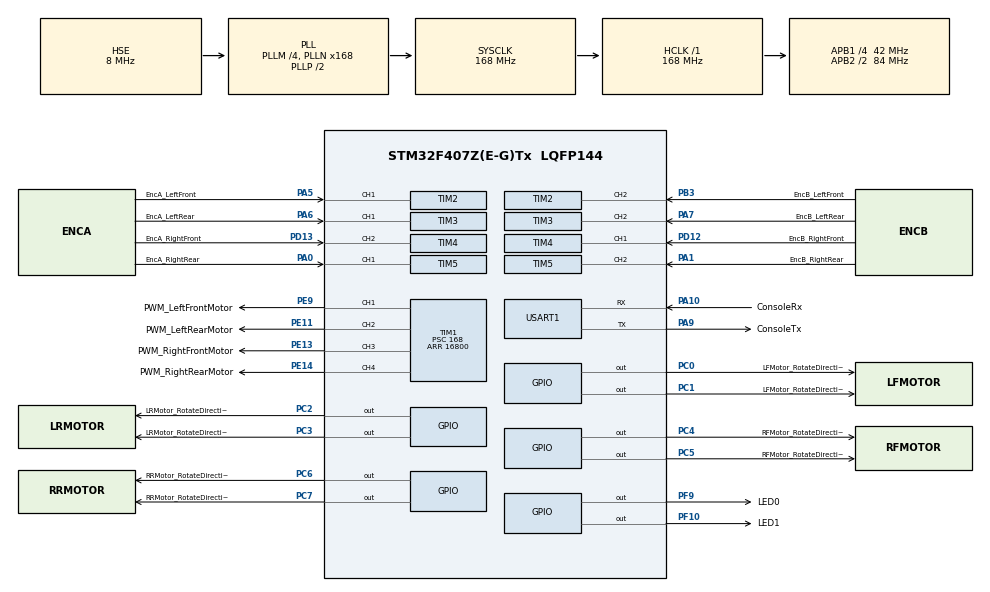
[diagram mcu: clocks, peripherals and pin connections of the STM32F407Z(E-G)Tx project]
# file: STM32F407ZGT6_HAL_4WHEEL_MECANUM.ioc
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Dma.Request0=USART1_TX
Dma.USART1_TX.0.Direction=DMA_MEMORY_TO_PERIPH
Dma.USART1_TX.0.FIFOMode=DMA_FIFOMODE_DISABLE
Dma.USART1_TX.0.Instance=DMA2_Stream7
Dma.USART1_TX.0.MemDataAlignment=DMA_MDATAALIGN_BYTE
Dma.USART1_TX.0.MemInc=DMA_MINC_ENABLE
Dma.USART1_TX.0.Mode=DMA_NORMAL
Dma.USART1_TX.0.PeriphDataAlignment=DMA_PDATAALIGN_BYTE
Dma.USART1_TX.0.PeriphInc=DMA_PINC_DISABLE
Dma.USART1_TX.0.Priority=DMA_PRIORITY_LOW
FREERTOS.INCLUDE_vTaskDelayUntil=1
FREERTOS.Tasks01=defaultTask,0,128,StartDefaultTask,Default,NULL,Dynamic,NULL,NULL;Task_AdjustSpeed,1,512,AdjustSpeed,Default,NULL,Dynamic,NULL,NULL;Task_CarOSioProcess,-3,512,CarOS_ioProcess,Default,NULL,Dynamic,NULL,NULL
FREERTOS.configMAX_TASK_NAME_LEN=30
FREERTOS.configUSE_NEWLIB_REENTRANT=1
Mcu.Family=STM32F4
Mcu.Name=STM32F407Z(E-G)Tx
Mcu.Package=LQFP144
NVIC.DMA2_Stream7_IRQn=true\:5\:0\:false\:false\:true\:true\:false\:true\:true
NVIC.PriorityGroup=NVIC_PRIORITYGROUP_4
NVIC.USART1_IRQn=true\:15\:0\:true\:false\:true\:true\:true\:true\:true
PA0-WKUP.GPIO_Label=EncA_RightRear
PA0-WKUP.GPIO_PuPd=GPIO_PULLUP
PA0-WKUP.Signal=S_TIM5_CH1
PA1.GPIO_Label=EncB_RightRear
PA1.GPIO_PuPd=GPIO_PULLUP
PA1.Signal=S_TIM5_CH2
PA10.GPIO_Label=ConsoleRx
PA10.Mode=Asynchronous
PA10.Signal=USART1_RX
PA5.GPIO_Label=EncA_LeftFront
PA5.GPIO_PuPd=GPIO_PULLUP
PA5.Signal=S_TIM2_CH1_ETR
PA6.GPIO_Label=EncA_LeftRear
PA6.GPIO_PuPd=GPIO_PULLUP
PA6.Signal=S_TIM3_CH1
PA7.GPIO_Label=EncB_LeftRear
PA7.GPIO_PuPd=GPIO_PULLUP
PA7.Signal=S_TIM3_CH2
PA9.GPIO_Label=ConsoleTx
PA9.Mode=Asynchronous
PA9.Signal=USART1_TX
PB3.GPIO_Label=EncB_LeftFront
PB3.GPIO_PuPd=GPIO_PULLUP
PB3.Signal=S_TIM2_CH2
PC0.GPIO_Label=LFMotor_RotateDirectionCtrl1
PC0.GPIO_PuPd=GPIO_PULLDOWN
PC0.Signal=GPIO_Output
PC1.GPIO_Label=LFMotor_RotateDirectionCtrl2
PC1.GPIO_PuPd=GPIO_PULLDOWN
PC1.Signal=GPIO_Output
PC14-OSC32_IN.Mode=LSE-External-Oscillator
PC14-OSC32_IN.Signal=RCC_OSC32_IN
PC15-OSC32_OUT.Mode=LSE-External-Oscillator
PC15-OSC32_OUT.Signal=RCC_OSC32_OUT
PC2.GPIO_Label=LRMotor_RotateDirectionCtrl1
PC2.GPIO_PuPd=GPIO_PULLDOWN
PC2.Signal=GPIO_Output
PC3.GPIO_Label=LRMotor_RotateDirectionCtrl2
PC3.GPIO_PuPd=GPIO_PULLDOWN
PC3.Signal=GPIO_Output
PC4.GPIO_Label=RFMotor_RotateDirectionCtrl1
PC4.GPIO_PuPd=GPIO_PULLDOWN
PC4.Signal=GPIO_Output
PC5.GPIO_Label=RFMotor_RotateDirectionCtrl2
PC5.GPIO_PuPd=GPIO_PULLDOWN
PC5.Signal=GPIO_Output
PC6.GPIO_Label=RRMotor_RotateDirectionCtrl1
PC6.GPIO_PuPd=GPIO_PULLDOWN
PC6.Signal=GPIO_Output
PC7.GPIO_Label=RRMotor_RotateDirectionCtrl2
PC7.GPIO_PuPd=GPIO_PULLDOWN
PC7.Signal=GPIO_Output
PD12.GPIO_Label=EncB_RightFront
PD12.GPIO_PuPd=GPIO_PULLUP
PD12.Signal=S_TIM4_CH1
PD13.GPIO_Label=EncA_RightFront
PD13.GPIO_PuPd=GPIO_PULLUP
PD13.Signal=S_TIM4_CH2
PE11.GPIO_Label=PWM_LeftRearMotor
PE11.Signal=S_TIM1_CH2
PE13.GPIO_Label=PWM_RightFrontMotor
PE13.Signal=S_TIM1_CH3
PE14.GPIO_Label=PWM_RightRearMotor
PE14.Signal=S_TIM1_CH4
PE9.GPIO_Label=PWM_LeftFrontMotor
PE9.Signal=S_TIM1_CH1
PF10.GPIO_Label=LED1
PF10.PinState=GPIO_PIN_SET
PF10.Signal=GPIO_Output
PF9.GPIO_Label=LED0
PF9.PinState=GPIO_PIN_SET
PF9.Signal=GPIO_Output
PH0-OSC_IN.Mode=HSE-External-Oscillator
PH0-OSC_IN.Signal=RCC_OSC_IN
PH1-OSC_OUT.Mode=HSE-External-Oscillator
PH1-OSC_OUT.Signal=RCC_OSC_OUT
ProjectManager.HeapSize=0x200
ProjectManager.StackSize=0x400
ProjectManager.TargetToolchain=STM32CubeIDE
RCC.48MHZClocksFreq_Value=84000000
RCC.AHBFreq_Value=168000000
RCC.APB1CLKDivider=RCC_HCLK_DIV4
RCC.APB1Freq_Value=42000000
RCC.APB1TimFreq_Value=84000000
RCC.APB2CLKDivider=RCC_HCLK_DIV2
RCC.APB2Freq_Value=84000000
RCC.APB2TimFreq_Value=168000000
RCC.CortexFreq_Value=168000000
RCC.HCLKFreq_Value=168000000
RCC.HSE_VALUE=8000000
RCC.HSI_VALUE=16000000
RCC.PLLM=4
RCC.PLLN=168
RCC.PLLSourceVirtual=RCC_PLLSOURCE_HSE
RCC.SYSCLKFreq_VALUE=168000000
RCC.SYSCLKSource=RCC_SYSCLKSOURCE_PLLCLK
RCC.VCOOutputFreq_Value=336000000
SH.S_TIM1_CH1.0=TIM1_CH1,PWM Generation1 CH1
SH.S_TIM1_CH2.0=TIM1_CH2,PWM Generation2 CH2
SH.S_TIM1_CH3.0=TIM1_CH3,PWM Generation3 CH3
SH.S_TIM1_CH4.0=TIM1_CH4,PWM Generation4 CH4
SH.S_TIM2_CH1_ETR.0=TIM2_CH1,Encoder_Interface
SH.S_TIM2_CH2.0=TIM2_CH2,Encoder_Interface
SH.S_TIM3_CH1.0=TIM3_CH1,Encoder_Interface
SH.S_TIM3_CH2.0=TIM3_CH2,Encoder_Interface
SH.S_TIM4_CH1.0=TIM4_CH1,Encoder_Interface
SH.S_TIM4_CH2.0=TIM4_CH2,Encoder_Interface
SH.S_TIM5_CH1.0=TIM5_CH1,Encoder_Interface
SH.S_TIM5_CH2.0=TIM5_CH2,Encoder_Interface
TIM1.Channel-PWM\ Generation1\ CH1=TIM_CHANNEL_1
TIM1.Channel-PWM\ Generation2\ CH2=TIM_CHANNEL_2
TIM1.Channel-PWM\ Generation3\ CH3=TIM_CHANNEL_3
TIM1.Channel-PWM\ Generation4\ CH4=TIM_CHANNEL_4
TIM1.Period=16800
TIM1.Prescaler=168
TIM2.EncoderMode=TIM_ENCODERMODE_TI12
TIM2.Prescaler=0
TIM3.EncoderMode=TIM_ENCODERMODE_TI12
TIM4.EncoderMode=TIM_ENCODERMODE_TI12
TIM5.EncoderMode=TIM_ENCODERMODE_TI12
USART1.VirtualMode=VM_ASYNC
VP_FREERTOS_VS_CMSIS_V1.Mode=CMSIS_V1
board=custom

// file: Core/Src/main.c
/* USER CODE BEGIN Header */
/**
  ******************************************************************************
  * @file           : main.c
  * @brief          : Main program body
  ******************************************************************************
  * @attention
  *
  * Copyright (c) 2022 STMicroelectronics.
  * All rights reserved.
  *
  * This software is licensed under terms that can be found in the LICENSE file
  * in the root directory of this software component.
  * If no LICENSE file comes with this software, it is provided AS-IS.
  *
  ******************************************************************************
  */
/* USER CODE END Header */
#include "main.h"
#include "cmsis_os.h"
#include "dma.h"
#include "tim.h"
#include "usart.h"
#include "gpio.h"

/* USER CODE BEGIN Includes */
#include "cos.h"

/* USER CODE END Includes */

void SystemClock_Config(void);
void MX_FREERTOS_Init(void);

int main(void)
{

  /* MCU Configuration--------------------------------------------------------*/

  /* Reset of all peripherals, Initializes the Flash interface and the Systick. */
  HAL_Init();

  /* Configure the system clock */
  SystemClock_Config();

  /* Initialize all configured peripherals */
  MX_GPIO_Init();
  MX_DMA_Init();
  MX_TIM1_Init();
  MX_USART1_UART_Init();
  MX_TIM2_Init();
  MX_TIM3_Init();
  MX_TIM4_Init();
  MX_TIM5_Init();
  /* USER CODE BEGIN 2 */

  CarKernelInit();

  DCMotor_Init(&LeftFrontMotor, "Left Front Motor", 32, 0, 16800);
  DCMotor_AddEncoder(&LeftFrontMotor, &htim2, 1560, 10);
  DCMotor_AddPID(&LeftFrontMotor, 1.5, 0, 0.1);
  DCMotor_AddL298N(&LeftFrontMotor, LFMotor_RotateDirectionCtrl1_GPIO_Port,
		                            LFMotor_RotateDirectionCtrl1_Pin,
									LFMotor_RotateDirectionCtrl2_GPIO_Port,
									LFMotor_RotateDirectionCtrl2_Pin,
									&htim1, TIM_CHANNEL_1);
  DCMotor_Init(&LeftRearMotor, "Left Rear Motor", 32, 0, 16800);
  DCMotor_AddEncoder(&LeftRearMotor, &htim3, 1560, 10);
  DCMotor_AddPID(&LeftRearMotor, 1.5, 0, 0.1);
  DCMotor_AddL298N(&LeftRearMotor,LRMotor_RotateDirectionCtrl1_GPIO_Port,
		                            LRMotor_RotateDirectionCtrl1_Pin,
									LRMotor_RotateDirectionCtrl2_GPIO_Port,
									LRMotor_RotateDirectionCtrl2_Pin,
									&htim1, TIM_CHANNEL_2);
  DCMotor_Init(&RightFrontMotor, "Right Front Motor", 32, 0, 16800);
  DCMotor_AddEncoder(&RightFrontMotor, &htim4, 1560, 10);
  DCMotor_AddPID(&RightFrontMotor, 1.5, 0, 0.1);
  DCMotor_AddL298N(&RightFrontMotor,RFMotor_RotateDirectionCtrl1_GPIO_Port,
		                            RFMotor_RotateDirectionCtrl1_Pin,
									RFMotor_RotateDirectionCtrl2_GPIO_Port,
									RFMotor_RotateDirectionCtrl2_Pin,
									&htim1, TIM_CHANNEL_3);
  DCMotor_Init(&RightRearMotor, "Right Rear Motor", 32, 0, 16800);
  DCMotor_AddEncoder(&RightRearMotor, &htim5, 1560, 10);
  DCMotor_AddPID(&RightRearMotor, 1.5, 0, 0.1);
  DCMotor_AddL298N(&RightRearMotor,RRMotor_RotateDirectionCtrl1_GPIO_Port,
		                           RRMotor_RotateDirectionCtrl1_Pin,
								   RRMotor_RotateDirectionCtrl2_GPIO_Port,
								   RRMotor_RotateDirectionCtrl2_Pin,
							       &htim1, TIM_CHANNEL_4);

  Car_Init(&Car, 7.5, 17, 17.1);
  Car_AddWheel(&LeftFrontMotor, &LeftRearMotor, &RightFrontMotor, &RightRearMotor);

  Car_SetVelocity(&Car, 0, 40, 0);

  /* USER CODE END 2 */

  /* Call init function for freertos objects (in freertos.c) */
  MX_FREERTOS_Init();

  /* Start scheduler */
  osKernelStart();

  /* We should never get here as control is now taken by the scheduler */
  /* Infinite loop */
  while (1)
  {

  }
}

void SystemClock_Config(void)
{
  RCC_OscInitTypeDef RCC_OscInitStruct = {0};
  RCC_ClkInitTypeDef RCC_ClkInitStruct = {0};

  /** Configure the main internal regulator output voltage
  */
  __HAL_RCC_PWR_CLK_ENABLE();
  __HAL_PWR_VOLTAGESCALING_CONFIG(PWR_REGULATOR_VOLTAGE_SCALE1);

  /** Initializes the RCC Oscillators according to the specified parameters
  * in the RCC_OscInitTypeDef structure.
  */
  RCC_OscInitStruct.OscillatorType = RCC_OSCILLATORTYPE_HSE;
  RCC_OscInitStruct.HSEState = RCC_HSE_ON;
  RCC_OscInitStruct.PLL.PLLState = RCC_PLL_ON;
  RCC_OscInitStruct.PLL.PLLSource = RCC_PLLSOURCE_HSE;
  RCC_OscInitStruct.PLL.PLLM = 4;
  RCC_OscInitStruct.PLL.PLLN = 168;
  RCC_OscInitStruct.PLL.PLLP = RCC_PLLP_DIV2;
  RCC_OscInitStruct.PLL.PLLQ = 4;
  if (HAL_RCC_OscConfig(&RCC_OscInitStruct) != HAL_OK)
  {
    Error_Handler();
  }

  /** Initializes the CPU, AHB and APB buses clocks
  */
  RCC_ClkInitStruct.ClockType = RCC_CLOCKTYPE_HCLK|RCC_CLOCKTYPE_SYSCLK
                              |RCC_CLOCKTYPE_PCLK1|RCC_CLOCKTYPE_PCLK2;
  RCC_ClkInitStruct.SYSCLKSource = RCC_SYSCLKSOURCE_PLLCLK;
  RCC_ClkInitStruct.AHBCLKDivider = RCC_SYSCLK_DIV1;
  RCC_ClkInitStruct.APB1CLKDivider = RCC_HCLK_DIV4;
  RCC_ClkInitStruct.APB2CLKDivider = RCC_HCLK_DIV2;

  if (HAL_RCC_ClockConfig(&RCC_ClkInitStruct, FLASH_LATENCY_5) != HAL_OK)
  {
    Error_Handler();
  }
}

/* USER CODE BEGIN 4 */
void UsartProcess(uint8_t *Buffer, uint16_t BufferLength)
{

}

/* USER CODE END 4 */

void Error_Handler(void)
{
  __disable_irq();
  while (1)
  {
  }
}

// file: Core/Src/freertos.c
/* USER CODE BEGIN Header */
/**
  ******************************************************************************
  * File Name          : freertos.c
  * Description        : Code for freertos applications
  ******************************************************************************
  * @attention
  *
  * Copyright (c) 2022 STMicroelectronics.
  * All rights reserved.
  *
  * This software is licensed under terms that can be found in the LICENSE file
  * in the root directory of this software component.
  * If no LICENSE file comes with this software, it is provided AS-IS.
  *
  ******************************************************************************
  */
/* USER CODE END Header */

#include "FreeRTOS.h"
#include "task.h"
#include "main.h"
#include "cmsis_os.h"

/* USER CODE BEGIN Includes */
#include "usart.h"
#include "tim.h"
#include "cos.h"
/* USER CODE END Includes */

/* USER CODE BEGIN Variables */
extern DCMotor LeftFrontMotor;
extern DCMotor LeftRearMotor;
extern DCMotor RightFrontMotor;
extern DCMotor RightRearMotor;
/* USER CODE END Variables */
osThreadId defaultTaskHandle;
osThreadId Task_AdjustSpeedHandle;
osThreadId Task_CarOSioProcessHandle;

void StartDefaultTask(void const * argument);
void AdjustSpeed(void const * argument);
void CarOS_ioProcess(void const * argument);

void MX_FREERTOS_Init(void); /* (MISRA C 2004 rule 8.1) */

/* GetIdleTaskMemory prototype (linked to static allocation support) */
void vApplicationGetIdleTaskMemory( StaticTask_t **ppxIdleTaskTCBBuffer, StackType_t **ppxIdleTaskStackBuffer, uint32_t *pulIdleTaskStackSize );

/* USER CODE BEGIN GET_IDLE_TASK_MEMORY */
static StaticTask_t xIdleTaskTCBBuffer;
static StackType_t xIdleStack[configMINIMAL_STACK_SIZE];

void vApplicationGetIdleTaskMemory( StaticTask_t **ppxIdleTaskTCBBuffer, StackType_t **ppxIdleTaskStackBuffer, uint32_t *pulIdleTaskStackSize )
{
  *ppxIdleTaskTCBBuffer = &xIdleTaskTCBBuffer;
  *ppxIdleTaskStackBuffer = &xIdleStack[0];
  *pulIdleTaskStackSize = configMINIMAL_STACK_SIZE;
  /* place for user code */
}
/* USER CODE END GET_IDLE_TASK_MEMORY */

void MX_FREERTOS_Init(void) {

  /* Create the thread(s) */
  /* definition and creation of defaultTask */
  osThreadDef(defaultTask, StartDefaultTask, osPriorityNormal, 0, 128);
  defaultTaskHandle = osThreadCreate(osThread(defaultTask), NULL);

  /* definition and creation of Task_AdjustSpeed */
  osThreadDef(Task_AdjustSpeed, AdjustSpeed, osPriorityAboveNormal, 0, 512);
  Task_AdjustSpeedHandle = osThreadCreate(osThread(Task_AdjustSpeed), NULL);

  /* definition and creation of Task_CarOSioProcess */
  osThreadDef(Task_CarOSioProcess, CarOS_ioProcess, osPriorityIdle, 0, 512);
  Task_CarOSioProcessHandle = osThreadCreate(osThread(Task_CarOSioProcess), NULL);

}

void StartDefaultTask(void const * argument)
{
  /* USER CODE BEGIN StartDefaultTask */
  /* Infinite loop */
  for(;;)
  {
    osDelay(1000);
  }
  /* USER CODE END StartDefaultTask */
}

void AdjustSpeed(void const * argument)
{
  /* USER CODE BEGIN AdjustSpeed */
	TickType_t xLastWakeTime;
	/* delay time must equal to Motor.Encoder.Interval */
	const TickType_t xFrequency = 10;

	xLastWakeTime = xTaskGetTickCount();
  /* Infinite loop */
  while(1)
  {
	  vTaskDelayUntil( &xLastWakeTime, xFrequency );

	  Car_AdjustedVelocity(&Car);

//	  COS_printf("%.2f %.2f %.2f %.2f\r\n",LeftFrontMotor.CurrentVelocity,
//			                           LeftRearMotor.CurrentVelocity,
//							           RightFrontMotor.CurrentVelocity,
//							           RightRearMotor.CurrentVelocity);

  }
  /* USER CODE END AdjustSpeed */
}

void CarOS_ioProcess(void const * argument)
{
  /* USER CODE BEGIN CarOS_ioProcess */
  /* Infinite loop */
  for(;;)
  {
    osDelay(50);
    io_Process();
  }
  /* USER CODE END CarOS_ioProcess */
}
